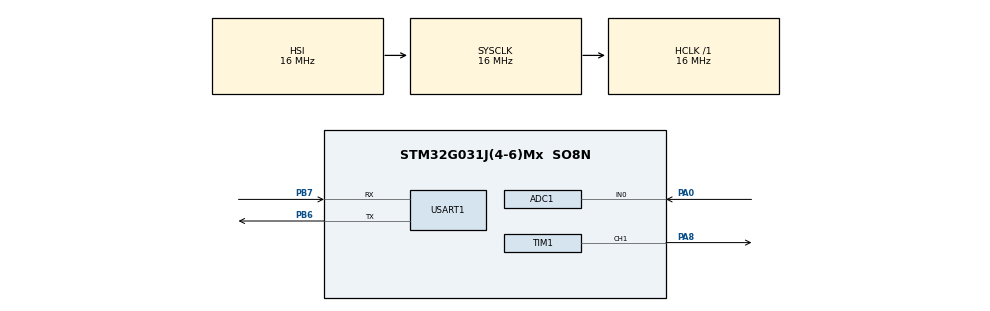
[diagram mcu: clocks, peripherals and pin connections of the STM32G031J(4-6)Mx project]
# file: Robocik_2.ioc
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ADC1.AWD1HighThreshold=1985
ADC1.AWD1ITMode=ENABLE
ADC1.Channel-1\#ChannelRegularConversion=ADC_CHANNEL_0
ADC1.Channel-2\#ChannelRegularConversion=ADC_CHANNEL_0
ADC1.ContinuousConvMode=DISABLE
ADC1.EnableAnalogWatchDog1=true
ADC1.ExternalTrigConv=ADC_SOFTWARE_START
ADC1.NbrOfConversion=2
ADC1.NbrOfConversionFlag=1
ADC1.Rank-1\#ChannelRegularConversion=1
ADC1.Rank-2\#ChannelRegularConversion=2
ADC1.SamplingTime-1\#ChannelRegularConversion=ADC_SAMPLINGTIME_COMMON_1
ADC1.SamplingTime-2\#ChannelRegularConversion=ADC_SAMPLINGTIME_COMMON_1
ADC1.SelectedChannel=ADC_CHANNEL_0
ADC1.Sequencer=FULLY_CONFIGURABLE
ADC1.master=1
Mcu.Family=STM32G0
Mcu.Name=STM32G031J(4-6)Mx
Mcu.Package=SO8N
NVIC.ADC1_IRQn=true\:0\:0\:false\:true\:true\:3\:true\:true
NVIC.TIM14_IRQn=true\:0\:0\:false\:true\:true\:2\:true\:true
NVIC.TIM2_IRQn=true\:0\:0\:false\:true\:true\:1\:true\:true
PA0.Mode=IN0
PA0.Signal=ADC1_IN0
PA8.Signal=S_TIM1_CH1
PB6.Mode=Asynchronous
PB6.Signal=USART1_TX
PB7.Mode=Asynchronous
PB7.Signal=USART1_RX
ProjectManager.HeapSize=0x200
ProjectManager.StackSize=0x400
ProjectManager.TargetToolchain=STM32CubeIDE
RCC.AHBFreq_Value=16000000
RCC.CortexFreq_Value=16000000
RCC.EXTERNAL_CLOCK_VALUE=12288000
RCC.HCLKFreq_Value=16000000
RCC.HSE_VALUE=8000000
RCC.HSI_VALUE=16000000
RCC.LSE_VALUE=32768
RCC.SYSCLKFreq_VALUE=16000000
RCC.VCOOutputFreq_Value=128000000
SH.S_TIM1_CH1.0=TIM1_CH1,PWM Generation1 CH1
TIM1.Channel-PWM\ Generation1\ CH1=TIM_CHANNEL_1
TIM1.Period=999
TIM1.Prescaler=160-1
TIM1.Pulse-PWM\ Generation1\ CH1=0
TIM14.Period=20-1
TIM14.Prescaler=16000-1
TIM2.Period=1999
TIM2.Prescaler=16000-1
USART1.VirtualMode-Asynchronous=VM_ASYNC
VP_TIM14_VS_ClockSourceINT.Mode=Enable_Timer
VP_TIM1_VS_ClockSourceINT.Mode=Internal
VP_TIM2_VS_ClockSourceINT.Mode=Internal
board=custom

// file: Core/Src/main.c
/* USER CODE BEGIN Header */
/**
  ******************************************************************************
  * @file           : main.c
  * @brief          : Main program body
  ******************************************************************************
  * @attention
  *
  * <h2><center>&copy; Copyright (c) 2020 STMicroelectronics.
  * All rights reserved.</center></h2>
  *
  * This software component is licensed by ST under BSD 3-Clause license,
  * the "License"; You may not use this file except in compliance with the
  * License. You may obtain a copy of the License at:
  *                        opensource.org/licenses/BSD-3-Clause
  *
  ******************************************************************************
  */
/* USER CODE END Header */
#include "main.h"
#include "adc.h"
#include "tim.h"
#include "usart.h"
#include "gpio.h"

/* USER CODE BEGIN Includes */
#include "stdio.h"
#include "string.h"
/* USER CODE END Includes */

/* USER CODE BEGIN PV */
uint8_t dimLevel = 0;
/* USER CODE END PV */

void SystemClock_Config(void);
static void MX_NVIC_Init(void);
uint16_t map(uint8_t x, uint8_t in_min, uint8_t in_max, uint8_t out_min, uint8_t out_max);//function for mapping

int main(void)
{

  /* MCU Configuration--------------------------------------------------------*/

  /* Reset of all peripherals, Initializes the Flash interface and the Systick. */
  HAL_Init();

  /* Configure the system clock */
  SystemClock_Config();

  /* Initialize all configured peripherals */
  MX_GPIO_Init();
  MX_ADC1_Init();
  MX_USART1_UART_Init();
  MX_TIM1_Init();
  MX_TIM2_Init();
  MX_TIM14_Init();

  /* Initialize interrupts */
  MX_NVIC_Init();
  /* USER CODE BEGIN 2 */
  HAL_ADC_Start(&hadc1);

  HAL_TIM_Base_Start_IT(&htim2);

  /* USER CODE END 2 */

  /* Infinite loop */
  while (1)
  {

  }
}

void SystemClock_Config(void)
{
  RCC_OscInitTypeDef RCC_OscInitStruct = {0};
  RCC_ClkInitTypeDef RCC_ClkInitStruct = {0};
  RCC_PeriphCLKInitTypeDef PeriphClkInit = {0};

  /** Configure the main internal regulator output voltage
  */
  HAL_PWREx_ControlVoltageScaling(PWR_REGULATOR_VOLTAGE_SCALE1);
  /** Initializes the RCC Oscillators according to the specified parameters
  * in the RCC_OscInitTypeDef structure.
  */
  RCC_OscInitStruct.OscillatorType = RCC_OSCILLATORTYPE_HSI;
  RCC_OscInitStruct.HSIState = RCC_HSI_ON;
  RCC_OscInitStruct.HSIDiv = RCC_HSI_DIV1;
  RCC_OscInitStruct.HSICalibrationValue = RCC_HSICALIBRATION_DEFAULT;
  RCC_OscInitStruct.PLL.PLLState = RCC_PLL_NONE;
  if (HAL_RCC_OscConfig(&RCC_OscInitStruct) != HAL_OK)
  {
    Error_Handler();
  }
  /** Initializes the CPU, AHB and APB buses clocks
  */
  RCC_ClkInitStruct.ClockType = RCC_CLOCKTYPE_HCLK|RCC_CLOCKTYPE_SYSCLK
                              |RCC_CLOCKTYPE_PCLK1;
  RCC_ClkInitStruct.SYSCLKSource = RCC_SYSCLKSOURCE_HSI;
  RCC_ClkInitStruct.AHBCLKDivider = RCC_SYSCLK_DIV1;
  RCC_ClkInitStruct.APB1CLKDivider = RCC_HCLK_DIV1;

  if (HAL_RCC_ClockConfig(&RCC_ClkInitStruct, FLASH_LATENCY_0) != HAL_OK)
  {
    Error_Handler();
  }
  /** Initializes the peripherals clocks
  */
  PeriphClkInit.PeriphClockSelection = RCC_PERIPHCLK_USART1|RCC_PERIPHCLK_ADC
                              |RCC_PERIPHCLK_TIM1;
  PeriphClkInit.Usart1ClockSelection = RCC_USART1CLKSOURCE_PCLK1;
  PeriphClkInit.AdcClockSelection = RCC_ADCCLKSOURCE_SYSCLK;
  PeriphClkInit.Tim1ClockSelection = RCC_TIM1CLKSOURCE_PCLK1;
  if (HAL_RCCEx_PeriphCLKConfig(&PeriphClkInit) != HAL_OK)
  {
    Error_Handler();
  }
}

/**
  * @brief NVIC Configuration.
  * @retval None
  */
static void MX_NVIC_Init(void)
{
  /* TIM2_IRQn interrupt configuration */
  HAL_NVIC_SetPriority(TIM2_IRQn, 0, 0);
  HAL_NVIC_EnableIRQ(TIM2_IRQn);
  /* TIM14_IRQn interrupt configuration */
  HAL_NVIC_SetPriority(TIM14_IRQn, 0, 0);
  HAL_NVIC_EnableIRQ(TIM14_IRQn);
  /* ADC1_IRQn interrupt configuration */
  HAL_NVIC_SetPriority(ADC1_IRQn, 0, 0);
  HAL_NVIC_EnableIRQ(ADC1_IRQn);
}

/* USER CODE BEGIN 4 */

void HAL_TIM_PeriodElapsedCallback(TIM_HandleTypeDef *htim){

	uint8_t adcValue = HAL_ADC_GetValue(&hadc1);

	uint8_t Message[32];

	if (htim == &htim2){
		//percent value:
		//y = 1.125 x + 0.5

		if(adcValue < 1985)//normalnie co się dzieje

		//tu generalnie wyłaczam diodę
		dimLevel = 0;
		__HAL_TIM_SET_COMPARE(&htim1,TIM_CHANNEL_1, dimLevel);
		HAL_TIM_PWM_Stop(&htim1, TIM_CHANNEL_1);
		HAL_TIM_Base_Stop_IT(&htim14);

		//mapowanie na wolty
		adcValue = map(adcValue, 0, 4095, 0, 33);

		adcValue = 112*adcValue + 500;
		//można podzielić na 1000
		sprintf(Message,"poziom wilgoci: %d \%\n\r",adcValue);

		UartLog(Message);//wysłanie loga
	}

	if (htim == &htim14){//every 19ms

		if (dimLevel <= 100){
			dimLevel += 10;
		}

		__HAL_TIM_SET_COMPARE(&htim1,TIM_CHANNEL_1, dimLevel);//zmiana wypełnienia
	}

}

void UartLog(char *Msg){
	HAL_UART_Transmit(&huart1, (uint8_t *)Msg, strlen(Msg), 100);
}

void HAL_ADCEx_LevelOutOfWindow2Callback(ADC_HandleTypeDef* hadc){

	if(hadc -> Instance == ADC1){//tutaj wachdog się załączy i wyśle poważne ostrzeżenie

		sprintf(Message, "WYCIEK, POMOCY!!! \n\r");
		//launch the next timer for dimming LED
		HAL_TIM_PWM_Start(&htim1, TIM_CHANNEL_1);
		HAL_TIM_Base_Start_IT(&htim14);//start every 19ms interrupt on tim14

		UartLog(Message);
	}
}

uint16_t map(uint8_t x, uint8_t in_min, uint8_t in_max, uint8_t out_min, uint8_t out_max)//function for mapping
{
  return (x - in_min) * (out_max - out_min) / (in_max - in_min) + out_min;
}
/* USER CODE END 4 */

void Error_Handler(void)
{
}

/************************ (C) COPYRIGHT STMicroelectronics *****END OF FILE****/
